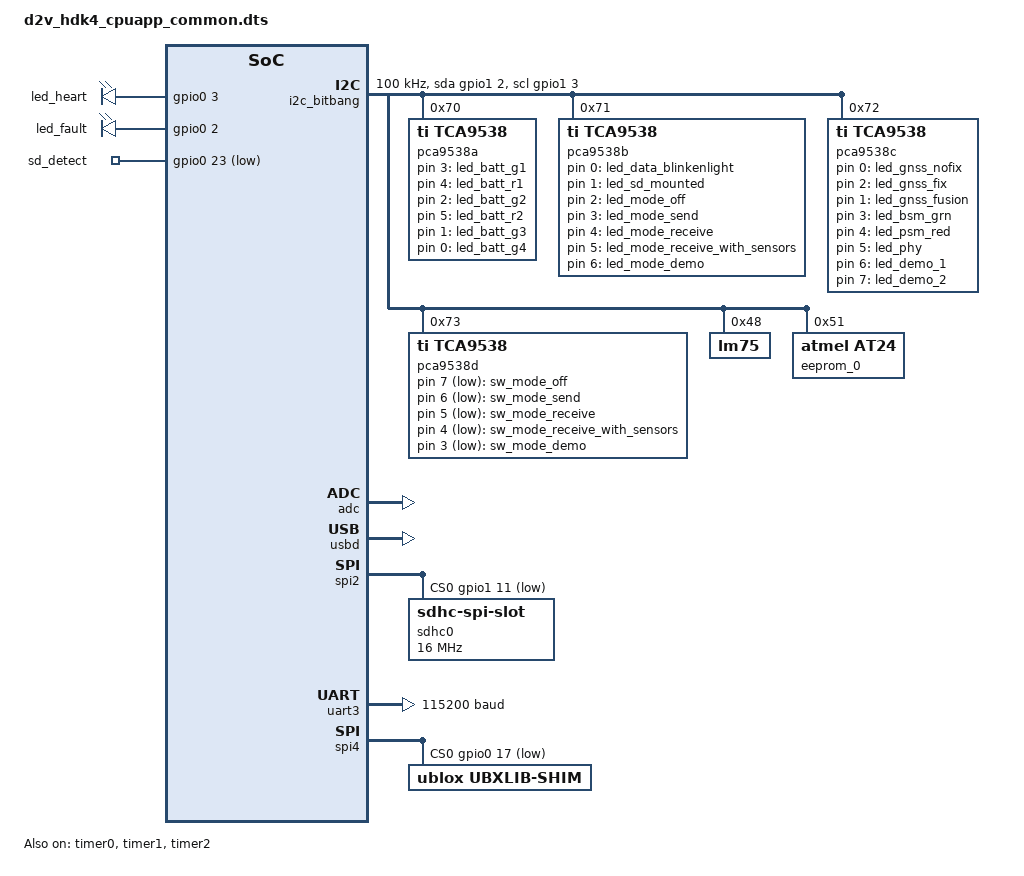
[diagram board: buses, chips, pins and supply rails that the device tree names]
/**
 * Copyright (c) 2019-2020 Nordic Semiconductor ASA
 *
 * SPDX-License-Identifier: Apache-2.0
 *
 * Enhanced for HDK 4 by Tome, Inc.
 *
 * The following GPIO ports are wired to P6,
 * "LEDS" connector.
 * &pca9538a 6    // P6.23 LED_SPARE_1
 * &pca9538a 7    // P6.24 LED_SPARE_2
 * &pcs9538b 7    // P6.25 LED_SPARE_3
 *
 * These GPIO ports are wired to J6 (board underside).
 * &pca9538d 0    // J7.5 GPIO_EXP_P0
 * &pca9538d 1    // J7.6 GPIO_EXP_P1
 * &pca9538d 2    // J7.7 GPIO_EXP_P2
 */

#include "d2v_hdk4_cpuapp_common-pinctrl.dtsi"

/ {
	chosen {
		zephyr,console = &usb_serial_uart0;
		zephyr,shell-uart = &uart0;
		zephyr,uart-mcumgr = &uart0;
		zephyr,bt-mon-uart = &uart0;
		zephyr,bt-c2h-uart = &uart0;
		zephyr,bt-hci-rpmsg-ipc = &ipc0;
		zephyr,ieee802154 = &ieee802154;
	};

	leds {
		compatible = "gpio-leds";
		led_heart: led_heartbeat {
			gpios = <&gpio0 3 GPIO_ACTIVE_HIGH>;
		};
		led_fault: led_fault {
			gpios = <&gpio0 2 GPIO_ACTIVE_HIGH>;
		};

		// Battery bi-color LED 1
		led_batt_g1: led_batt_g1 {
			gpios = <&pca9538a 3 GPIO_ACTIVE_HIGH>;
		};

		led_batt_r1: led_batt_r1 {
			gpios = <&pca9538a 4 GPIO_ACTIVE_HIGH>;
		};

		// Battery bi-color LED 2
		led_batt_g2: led_batt_g2 {
			gpios = <&pca9538a 2 GPIO_ACTIVE_HIGH>;
		};

		led_batt_r2: led_batt_r2 {
			gpios = <&pca9538a 5 GPIO_ACTIVE_HIGH>;
		};

		// Remaining Battery LEDs
		led_batt_g3: led_batt_g3 {
			gpios = <&pca9538a 1 GPIO_ACTIVE_HIGH>;
		};

		led_batt_g4: led_batt_g4 {
			gpios = <&pca9538a 0 GPIO_ACTIVE_HIGH>;
		};

		// BLE Data LED
		led_data_blinkenlight: led_data_blinkenlight {
			gpios = <&pca9538b 0 GPIO_ACTIVE_HIGH>;
		};

		// SD Card Mounted LED
		led_sd_mounted: led_sd_mounted {
			gpios = <&pca9538b 1 GPIO_ACTIVE_HIGH >;
		};

		// Five Mode LEDs
		led_mode_off: led_mode1 {
			gpios = <&pca9538b 2 GPIO_ACTIVE_HIGH>;
		};

		led_mode_send: led_mode2 {
			gpios = <&pca9538b 3 GPIO_ACTIVE_HIGH>;
		};

		led_mode_receive: led_mode3 {
			gpios = <&pca9538b 4 GPIO_ACTIVE_HIGH>;
		};

		led_mode_receive_with_sensors: led_mode4 {
			gpios = <&pca9538b 5 GPIO_ACTIVE_HIGH>;
		};

		led_mode_demo: led_mode5 {
			gpios = <&pca9538b 6 GPIO_ACTIVE_HIGH>;
		};

		// GNSS Tricolor LED - red
		led_gnss_nofix: led_gnss_nofix_red {
			gpios = <&pca9538c 0 GPIO_ACTIVE_HIGH>;
		};

		// GNSS Tricolor LED - blue
		led_gnss_fix: led_gnss_fix_blu {
			gpios = <&pca9538c 2 GPIO_ACTIVE_HIGH>;
		};

		// GNSS Tricolor LED - green
		led_gnss_fusion: led_gnss_fusion_grn {
			gpios = <&pca9538c 1 GPIO_ACTIVE_HIGH>;
		};

		// BSM/PSM Bi-color LED
		led_bsm_grn: led_bsm_grn {
			gpios = <&pca9538c 3 GPIO_ACTIVE_HIGH>;
		};

		led_psm_red: led_psm_red {
			gpios = <&pca9538c 4 GPIO_ACTIVE_HIGH>;
		};

		// PHY LED
		led_phy: led_phy {
			gpios = <&pca9538c 5 GPIO_ACTIVE_HIGH>;
		};

		// Two DEMO Mode LEDs
		led_demo_1: led_demo_1 {
			gpios = <&pca9538c 6 GPIO_ACTIVE_HIGH>;
		};

		led_demo_2: led_demo_2 {
			gpios = <&pca9538c 7 GPIO_ACTIVE_HIGH>;
		};

	};

	switches {
		compatible = "gpio-keys";
		sw_mode_off: sw4_1 {
			gpios = <&pca9538d 7 GPIO_ACTIVE_LOW>;
		};

		sw_mode_send: sw4_2 {
			gpios = <&pca9538d 6 GPIO_ACTIVE_LOW>;
		};

		sw_mode_receive: sw4_3 {
			gpios = <&pca9538d 5 GPIO_ACTIVE_LOW>;
		};

		sw_mode_receive_with_sensors: sw4_4 {
			gpios = <&pca9538d 4 GPIO_ACTIVE_LOW>;
		};

		sw_mode_demo: sw4_5 {
			gpios = <&pca9538d 3 GPIO_ACTIVE_LOW>;
		};
	};


	// SD Card detect (physical switch in the SD card sled)
	sd_card_detection {
		compatible = "gpio-keys";
		sd_detect: sd_detectn {
			gpios = <&gpio0 23 GPIO_ACTIVE_LOW>;
		};
	};
};

&adc {
	status = "okay";
};

&gpiote {
	status = "okay";
};

&gpio0 {
	status = "okay";
};

&gpio1 {
	status = "okay";
};

zephyr_udc0: &usbd {
	compatible = "nordic,nrf-usbd";
	status = "okay";
	usb_serial_uart0: cdc_acm_uart0 {
		compatible = "zephyr,cdc-acm-uart";
	};
};

// i2c bitbang is all our low speed i2c
/{
	i2c_bitbang: i2c_bitbang {
		compatible = "gpio-i2c";
		clock-frequency = <I2C_BITRATE_STANDARD>;
		sda-gpios = <&gpio1 2 (GPIO_OPEN_DRAIN)>;
		scl-gpios = <&gpio1 3 (GPIO_OPEN_DRAIN)>;
		#address-cells = <1>;
		#size-cells = <0>;
		status = "okay";
		pca9538a: pca9538@70 {
			compatible = "ti,tca9538";
			status = "okay";
			reg = <0x70>;
			gpio-controller;
			#gpio-cells = <2>;
			ngpios = <8>;
		};
		pca9538b: pca9538@71 {
			compatible = "ti,tca9538";
			status = "okay";
			reg = <0x71>;
			gpio-controller;
			#gpio-cells = <2>;
			ngpios = <8>;
		};
		pca9538c: pca9538@72 {
			compatible = "ti,tca9538";
			status = "okay";
			reg = <0x72>;
			gpio-controller;
			#gpio-cells = <2>;
			ngpios = <8>;
		};
		pca9538d: pca9538@73 {
			compatible = "ti,tca9538";
			status = "okay";
			reg = <0x73>;
			gpio-controller;
			#gpio-cells = <2>;
			ngpios = <8>;
		};

		lm75: lm75@48 {
			compatible = "lm75";
			status = "okay";
			reg = <0x48>;
		};

		eeprom_0: at24@51 {
			reg = <0x51>;
			compatible = "atmel,at24";
			status = "okay";
			size = <256>;
			pagesize = <16>;
			address-width = <8>;
			timeout = <4>;
		};
	};
};


// CV2X
//&uart1 {
//	status = "okay";
//	current-speed = <115200>;
//	pinctrl-0 = <&uart1_default>;
//	pinctrl-1 = <&uart1_sleep>;
//	pinctrl-names = "default", "sleep";
//};

// sd card
&spi2 {
	compatible = "nordic,nrf-spim";
	status = "okay";
	cs-gpios = <&gpio1 11 GPIO_ACTIVE_LOW>;
	pinctrl-0 = <&spi2_default>;
	pinctrl-1 = <&spi2_sleep>;
	pinctrl-names = "default", "sleep";
	sdhc0: sdhc@0 {
		compatible = "zephyr,sdhc-spi-slot";
		reg = <0>;
		status = "okay";
		mmc {
			compatible = "zephyr,sdmmc-disk";
			status = "okay";
		};
		// SPI2 max bit rate is 16Mbps (16MHz frequency)
		spi-max-frequency = <DT_FREQ_M(16)>;
	};
};

// LTE
lte_uart: &uart3 {
	status = "okay";
	current-speed = <115200>;
	pinctrl-0 = <&uart3_default>;
	pinctrl-1 = <&uart3_sleep>;
	pinctrl-names = "default", "sleep";
	//hw-flow-control;
};

// ublox
&spi4 {
	compatible = "nordic,nrf-spim";
	status = "okay";
	cs-gpios = <&gpio0 17 GPIO_ACTIVE_LOW>;

	pinctrl-0 = <&spi4_default>;
	pinctrl-1 = <&spi4_sleep>;
	pinctrl-names = "default", "sleep";
	ublox: ublox@0 {
		compatible = "ublox,ubxlib-shim";
		reg = <0>;
		bus-num = <4>;
		bus-type = <0>; // 0 is spi, 1 is i2c
		module-type = <1>; // 0 is M8, 1 is M9, 2 is M10
	};
};

&timer0 {
	status = "okay";
};

&timer1 {
	status = "okay";
};

&timer2 {
	status = "okay";
};


&flash0 {

	partitions {
		compatible = "fixed-partitions";
		#address-cells = <1>;
		#size-cells = <1>;

		/* 64K */
		boot_partition: partition@0 {
			label = "mcuboot";
			reg = <0x00000000 0x00010000>;
		};
		/* 640K */
		slot0_partition: partition@10000 {
			label = "image-0";
		};
		/* 256K */
		slot0_ns_partition: partition@b0000 {
			label = "image-0-nonsecure";
		};

		// The flash starting at 0x000f8000 and ending at
		// 0x000fffff is reserved for use by the application.

		// Storage partition will be used by FCB/NVS
		// if enabled. 32K
		storage_partition: partition@f8000 {
			label = "storage";
			reg = <0x000f8000 0x00008000>;
		};
	};
};



/ {
	reserved-memory {
		#address-cells = <1>;
		#size-cells = <1>;
		ranges;

		sram0_image: image@20000000 {
			/* Zephyr image(s) memory */
		};

		sram0_s: image_s@20000000 {
			/* Secure image memory */
		};

		sram0_ns: image_ns@20040000 {
			/* Non-Secure image memory */
		};
	};
};

/* Include partition configuration file */
#include "d2v_hdk4_cpuapp_partition_conf.dts"
